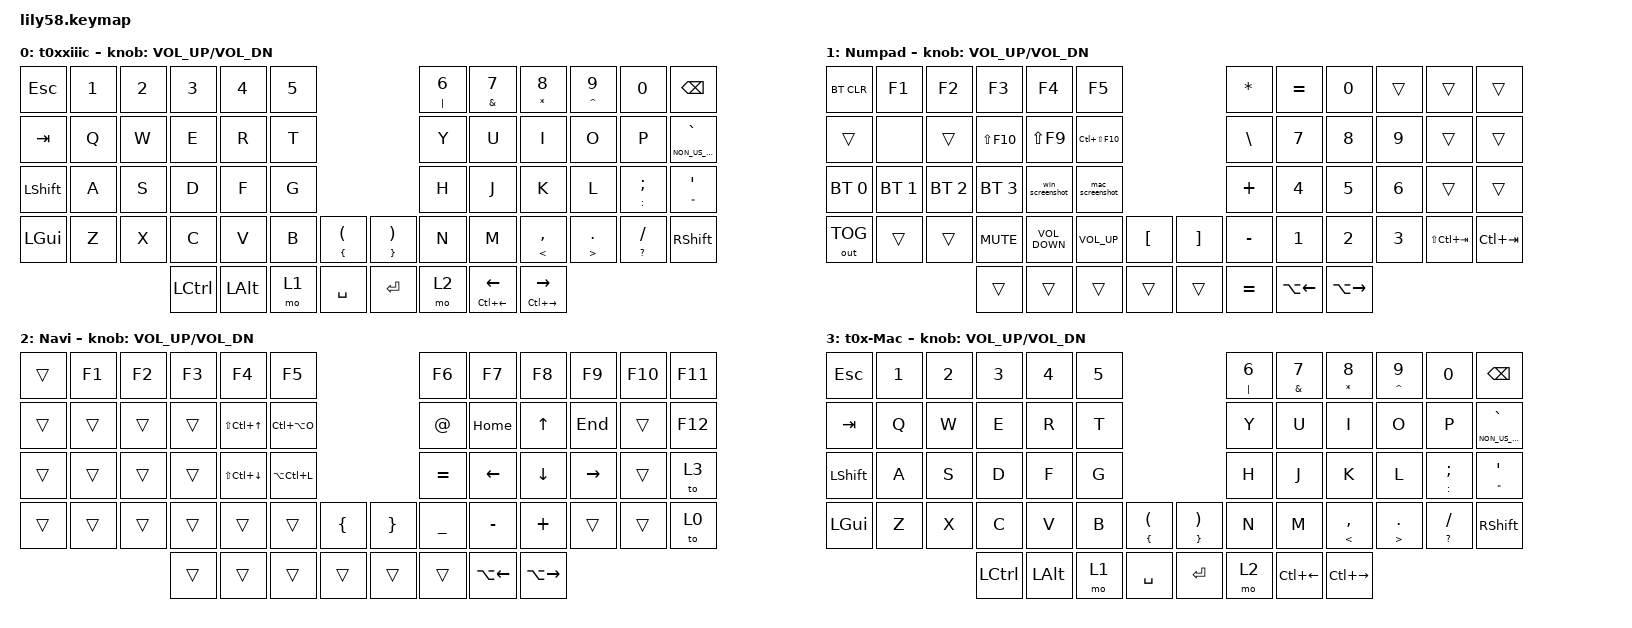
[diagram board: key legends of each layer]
/*
 * Copyright (c) 2020 The ZMK Contributors
 *
 * SPDX-License-Identifier: MIT
 */

#include <behaviors.dtsi>
#include <dt-bindings/zmk/bt.h>
#include <dt-bindings/zmk/keys.h>
#include <dt-bindings/zmk/outputs.h>

&sk { quick-release; };

/ {
    macros {
        win_screenshot: win_screenshot {
            compatible = "zmk,behavior-macro";
            #binding-cells = <0>;
            bindings = <&kp LG(LS(S))>;
            label = "WIN_SCREENSHOT";
        };

        mac_screenshot: mac_screenshot {
            compatible = "zmk,behavior-macro";
            #binding-cells = <0>;
            bindings = <&kp LG(LC(LS(NUMBER_4)))>;
            label = "MAC_SCREENSHOT";
        };
    };

    behaviors {
        tap_hold_190: tap_hold_190 {
            compatible = "zmk,behavior-hold-tap";
            label = "TAP_HOLD_190";
            bindings = <&kp>, <&kp>;

            #binding-cells = <2>;
            flavor = "tap-preferred";
            tapping-term-ms = <190>;
        };

        shift_caps_dance: shift_caps_dance {
            compatible = "zmk,behavior-tap-dance";
            label = "SHIFT_CAPS_DANCE";
            #binding-cells = <0>;
            bindings = <&sk LEFT_SHIFT>, <&caps_word>;
        };
    };

    keymap {
        compatible = "zmk,keymap";

        default_layer {
            // ------------------------------------------------------------------------------------------------------------
            // |  ESC  |  1  |  2  |  3   |  4   |  5   |                   |  6   |  7    |  8    |  9   |   0   |   `   |
            // |  TAB  |  Q  |  W  |  E   |  R   |  T   |                   |  Y   |  U    |  I    |  O   |   P   |   -   |
            // |  CTRL |  A  |  S  |  D   |  F   |  G   |                   |  H   |  J    |  K    |  L   |   ;   |   '   |
            // | SHIFT |  Z  |  X  |  C   |  V   |  B   |   "["  |  |  "]"  |  N   |  M    |  ,    |  .   |   /   | SHIFT |
            //                     | ALT  | GUI  | LOWER|  SPACE |  | ENTER | RAISE| BSPC  | GUI   |

            display-name = "t0xxiiic";
            bindings = <
&kp ESC         &kp N1  &kp N2  &kp N3            &kp N4        &kp N5                                                                        &tap_hold_190 PIPE NUMBER_6  &tap_hold_190 AMPS N7                    &tap_hold_190 ASTRK N8                     &tap_hold_190 CARET N9   &kp N0               &kp BACKSPACE
&kp TAB         &kp Q   &kp W   &kp E             &kp R         &kp T                                                                         &kp Y                        &kp U                                    &kp I                                      &kp O                    &kp P                &mt NON_US_BACKSLASH GRAVE
&kp LEFT_SHIFT  &kp A   &kp S   &kp D             &kp F         &kp G                                                                         &kp H                        &kp J                                    &kp K                                      &kp L                    &mt COLON SEMICOLON  &mt DOUBLE_QUOTES SQT
&kp LEFT_GUI    &kp Z   &kp X   &kp C             &kp V         &kp B   &mt LEFT_BRACE LEFT_PARENTHESIS    &mt RIGHT_BRACE RIGHT_PARENTHESIS  &kp N                        &kp M                                    &mt LESS_THAN COMMA                        &mt GREATER_THAN PERIOD  &mt QUESTION SLASH   &kp RSHFT
                                &kp LEFT_CONTROL  &kp LEFT_ALT  &mo 1   &kp SPACE                          &kp RET                            &mo 2                        &tap_hold_190 LC(LEFT_ARROW) LEFT_ARROW  &tap_hold_190 LC(RIGHT_ARROW) RIGHT_ARROW
            >;

            sensor-bindings = <&inc_dec_kp C_VOL_UP C_VOL_DN>;
        };

        num_layer {
            // ------------------------------------------------------------------------------------------------------------
            // | BTCLR | BT1 | BT2 |  BT3 |  BT4 |  BT5 |                   |      |       |       |      |       |       |
            // |  F1   |  F2 |  F3 |  F4  |  F5  |  F6  |                   |  F7  |  F8   |  F9   |  F10 |  F11  |  F12  |
            // |   `   |  !  |  @  |  #   |  $   |  %   |                   |  ^   |  &    |  *    |  (   |   )   |   ~   |
            // |       |     |     |      |      |      |        |  |       |      |  _    |  +    |  {   |   }   |  "|"  |
            //                     |      |      |      |        |  |       |      |       |       |

            display-name = "Numpad";
            bindings = <
&bt BT_CLR    &kp F1        &kp F2        &kp F3        &kp F4             &kp F5                                                  &kp ASTERISK   &kp EQUAL     &kp N0         &trans  &trans           &trans
&trans        &none         &trans        &kp LS(F10)   &kp LS(F9)         &kp LC(LS(F10))                                         &kp BACKSLASH  &kp N7        &kp N8         &kp N9  &trans           &trans
&bt BT_SEL 0  &bt BT_SEL 1  &bt BT_SEL 2  &bt BT_SEL 3  &win_screenshot    &mac_screenshot                                         &kp PLUS       &kp N4        &kp N5         &kp N6  &trans           &trans
&out OUT_TOG  &trans        &trans        &kp K_MUTE    &kp C_VOLUME_DOWN  &kp C_VOLUME_UP  &kp LEFT_BRACKET    &kp RIGHT_BRACKET  &kp MINUS      &kp N1        &kp N2         &kp N3  &kp LS(LC(TAB))  &kp LC(TAB)
                                          &trans        &trans             &trans           &trans              &trans             &kp EQUAL      &kp LA(LEFT)  &kp LA(RIGHT)
            >;

            sensor-bindings = <&inc_dec_kp C_VOL_UP C_VOL_DN>;
        };

        nav_layer {
            // ------------------------------------------------------------------------------------------------------------
            // |       |     |     |      |      |      |                   |      |       |       |      |       |       |
            // |   `   |  1  |  2  |  3   |  4   |  5   |                   |  6   |   7   |   8   |  9   |   0   |       |
            // |   F1  |  F2 |  F3 |  F4  |  F5  |  F6  |                   |      |   <-  |   v   |  ^   |  ->   |       |
            // |   F7  |  F8 |  F9 |  F10 |  F11 |  F12 |        |  |       |  +   |   -   |   =   |  [   |   ]   |   \   |
            //                     |      |      |      |        |  |       |      |       |       |

            display-name = "Navi";
            bindings = <
&trans  &kp F1  &kp F2  &kp F3  &kp F4                  &kp F5                                            &kp F6          &kp F7        &kp F8         &kp F9     &kp F10  &kp F11
&trans  &trans  &trans  &trans  &kp LS(LC(UP_ARROW))    &kp LC(LA(O))                                     &kp AT          &kp HOME      &kp UP         &kp END    &trans   &kp F12
&trans  &trans  &trans  &trans  &kp LS(LC(DOWN_ARROW))  &kp LA(LC(L))                                     &kp EQUAL       &kp LEFT      &kp DOWN       &kp RIGHT  &trans   &to 3
&trans  &trans  &trans  &trans  &trans                  &trans         &kp LEFT_BRACE    &kp RIGHT_BRACE  &kp UNDERSCORE  &kp MINUS     &kp PLUS       &trans     &trans   &to 0
                        &trans  &trans                  &trans         &trans            &trans           &trans          &kp LA(LEFT)  &kp LA(RIGHT)
            >;

            sensor-bindings = <&inc_dec_kp C_VOL_UP C_VOL_DN>;
        };

        mac_layer {
            display-name = "t0x-Mac";
            bindings = <
&kp ESC         &kp N1  &kp N2  &kp N3            &kp N4        &kp N5                                                                        &tap_hold_190 PIPE NUMBER_6  &tap_hold_190 AMPS N7  &tap_hold_190 ASTRK N8  &tap_hold_190 CARET N9   &kp N0               &kp BACKSPACE
&kp TAB         &kp Q   &kp W   &kp E             &kp R         &kp T                                                                         &kp Y                        &kp U                  &kp I                   &kp O                    &kp P                &mt NON_US_BACKSLASH GRAVE
&kp LEFT_SHIFT  &kp A   &kp S   &kp D             &kp F         &kp G                                                                         &kp H                        &kp J                  &kp K                   &kp L                    &mt COLON SEMICOLON  &mt DOUBLE_QUOTES SQT
&kp LEFT_GUI    &kp Z   &kp X   &kp C             &kp V         &kp B   &mt LEFT_BRACE LEFT_PARENTHESIS    &mt RIGHT_BRACE RIGHT_PARENTHESIS  &kp N                        &kp M                  &mt LESS_THAN COMMA     &mt GREATER_THAN PERIOD  &mt QUESTION SLASH   &kp RSHFT
                                &kp LEFT_CONTROL  &kp LEFT_ALT  &mo 1   &kp SPACE                          &kp RET                            &mo 2                        &kp LC(LEFT_ARROW)     &kp LC(RIGHT_ARROW)
            >;

            sensor-bindings = <&inc_dec_kp C_VOL_UP C_VOL_DN>;
        };
    };
};
